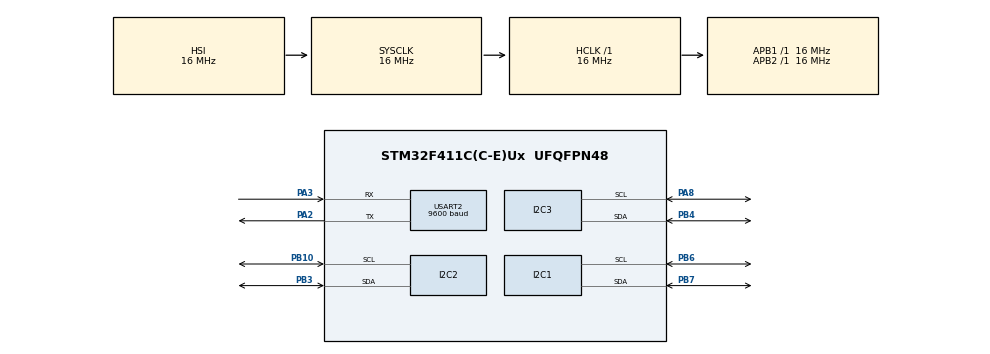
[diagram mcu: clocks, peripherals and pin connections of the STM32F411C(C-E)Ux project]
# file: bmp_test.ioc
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FREERTOS.Tasks01=SensorTask,40,2024,sensor_aq_task,Default,NULL,Static,SensorTaskBuffer,SensorTaskControlBlock;DisplayTask,24,5024,display_refresh,Default,NULL,Static,DisplayTaskBuffer,DisplayTaskControlBlock;FailureMonitor,8,2024,failure_detector,Default,NULL,Static,FailureMonitorBuffer,FailureMonitorControlBlock
FREERTOS.configENABLE_FPU=1
FREERTOS.configUSE_NEWLIB_REENTRANT=1
Mcu.Family=STM32F4
Mcu.Name=STM32F411C(C-E)Ux
Mcu.Package=UFQFPN48
NVIC.PriorityGroup=NVIC_PRIORITYGROUP_4
NVIC.TIM1_UP_TIM10_IRQn=true\:15\:0\:false\:false\:true\:false\:false\:true\:true
NVIC.TimeBase=TIM1_UP_TIM10_IRQn
NVIC.TimeBaseIP=TIM10
PA2.Mode=Asynchronous
PA2.Signal=USART2_TX
PA3.Mode=Asynchronous
PA3.Signal=USART2_RX
PA8.GPIO_Pu=GPIO_NOPULL
PA8.Mode=I2C
PA8.Signal=I2C3_SCL
PB10.GPIO_Pu=GPIO_NOPULL
PB10.Mode=I2C
PB10.Signal=I2C2_SCL
PB3.GPIO_Pu=GPIO_NOPULL
PB3.Mode=I2C
PB3.Signal=I2C2_SDA
PB4.GPIO_Pu=GPIO_NOPULL
PB4.Mode=I2C
PB4.Signal=I2C3_SDA
PB6.GPIO_Pu=GPIO_NOPULL
PB6.Mode=I2C
PB6.Signal=I2C1_SCL
PB7.GPIO_Pu=GPIO_NOPULL
PB7.Mode=I2C
PB7.Signal=I2C1_SDA
ProjectManager.HeapSize=0x200
ProjectManager.StackSize=0x400
ProjectManager.TargetToolchain=STM32CubeIDE
RCC.AHBFreq_Value=16000000
RCC.APB1Freq_Value=16000000
RCC.APB2Freq_Value=16000000
RCC.CortexFreq_Value=16000000
RCC.HSE_VALUE=25000000
RCC.HSI_VALUE=16000000
RCC.LSE_VALUE=32768
RCC.SYSCLKFreq_VALUE=16000000
RCC.VCOOutputFreq_Value=192000000
USART2.BaudRate=9600
USART2.VirtualMode=VM_ASYNC
VP_FREERTOS_VS_CMSIS_V2.Mode=CMSIS_V2
VP_SYS_VS_tim10.Mode=TIM10
board=custom

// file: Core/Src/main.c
/* USER CODE BEGIN Header */
/**
 ******************************************************************************
 * @file           : main.c
 * @brief          : Main program body
 ******************************************************************************
 * @attention
 *
 * Copyright (c) 2026 STMicroelectronics.
 * All rights reserved.
 *
 * This software is licensed under terms that can be found in the LICENSE file
 * in the root directory of this software component.
 * If no LICENSE file comes with this software, it is provided AS-IS.
 *
 ******************************************************************************
 */
/* USER CODE END Header */
#include "main.h"
#include "cmsis_os.h"

/* USER CODE BEGIN Includes */
#include "bmp280_secondary.h"
#include "bmp280.h"
#include "mpu6050.h"
#include <stdio.h>
/* USER CODE END Includes */

typedef StaticTask_t osStaticThreadDef_t;

/* USER CODE BEGIN PD */
float altitude = 0.00f;
float gx = 0.00f;
float gy = 0.00f;
float gz = 0.00f;
float ax = 0.00f;
float ay = 0.00f;
float az = 0.00f;
float cc = 0.00f;
float cv = 0.00f;
float fused_vz = 0.00f;
float roll_deg = 0.00f;
float pitch_deg = 0.00f;
float prev_altitude = 0.00f;
float vz_avg = 0.00f;
int debug = 0;
float fused_vz_bias = 0.0f;

int sensor_task_running = 0;
int display_task_running = 0;
int failure_monitor_running = 0;
/* USER CODE END PD */

I2C_HandleTypeDef hi2c1;
I2C_HandleTypeDef hi2c2;
I2C_HandleTypeDef hi2c3;

UART_HandleTypeDef huart2;

/* Definitions for SensorTask */
osThreadId_t SensorTaskHandle;
uint32_t SensorTaskBuffer[ 2024 ];
osStaticThreadDef_t SensorTaskControlBlock;
const osThreadAttr_t SensorTask_attributes = {
  .name = "SensorTask",
  .cb_mem = &SensorTaskControlBlock,
  .cb_size = sizeof(SensorTaskControlBlock),
  .stack_mem = &SensorTaskBuffer[0],
  .stack_size = sizeof(SensorTaskBuffer),
  .priority = (osPriority_t) osPriorityHigh,
};
/* Definitions for DisplayTask */
osThreadId_t DisplayTaskHandle;
uint32_t DisplayTaskBuffer[ 5024 ];
osStaticThreadDef_t DisplayTaskControlBlock;
const osThreadAttr_t DisplayTask_attributes = {
  .name = "DisplayTask",
  .cb_mem = &DisplayTaskControlBlock,
  .cb_size = sizeof(DisplayTaskControlBlock),
  .stack_mem = &DisplayTaskBuffer[0],
  .stack_size = sizeof(DisplayTaskBuffer),
  .priority = (osPriority_t) osPriorityNormal,
};
/* Definitions for FailureMonitor */
osThreadId_t FailureMonitorHandle;
uint32_t FailureMonitorBuffer[ 2024 ];
osStaticThreadDef_t FailureMonitorControlBlock;
const osThreadAttr_t FailureMonitor_attributes = {
  .name = "FailureMonitor",
  .cb_mem = &FailureMonitorControlBlock,
  .cb_size = sizeof(FailureMonitorControlBlock),
  .stack_mem = &FailureMonitorBuffer[0],
  .stack_size = sizeof(FailureMonitorBuffer),
  .priority = (osPriority_t) osPriorityLow,
};

void SystemClock_Config(void);
static void MX_GPIO_Init(void);
static void MX_I2C1_Init(void);
static void MX_I2C2_Init(void);
static void MX_I2C3_Init(void);
static void MX_USART2_UART_Init(void);
void sensor_aq_task(void *argument);
void display_refresh(void *argument);
void failure_detector(void *argument);

/* USER CODE BEGIN 0 */

#define PUTCHAR_PROTOTYPE int __io_putchar(int ch)

PUTCHAR_PROTOTYPE {
	/* Place your implementation of fputc here */
	/* e.g. write a character to the USART1 and Loop until the end of transmission */
	HAL_UART_Transmit(&huart2, (uint8_t*) &ch, 1, 0xFFFF);

	return ch;
}

float vertical_velocity_baro(float altitude, float dt) {
	static float prev_alt = 0.0f;
	static uint8_t initialized = 0;
	static float vz = 0.0f;

	if (!initialized) {
		prev_alt = altitude;
		initialized = 1;
		return 0.0f;
	}

	float raw_vz = (altitude - prev_alt) / dt;
	const float alpha = 0.85f;
	vz = alpha * vz + (1.0f - alpha) * raw_vz;

	prev_alt = altitude;

	return vz;
}

float vertical_velocity_imu(float ax, float ay, float az, float roll_deg,
		float pitch_deg, float dt) {
	static float vz = 0.0f;
	static float bias = 0.0f;
	static uint8_t initialized = 0;

	const float g = 9.80665f;

	float roll = roll_deg * 0.0174533f;
	float pitch = pitch_deg * 0.0174533f;

	float accZ_inertial = -sinf(pitch) * ax + cosf(pitch) * sinf(roll) * ay
			+ cosf(pitch) * cosf(roll) * az;

	float az_true = (accZ_inertial - 1.0f) * g;

	if (!initialized) {
		bias = az_true;
		initialized = 1;
		return 0.0f;
	}

	bias = 0.995f * bias + 0.005f * az_true;
	az_true -= bias;
	vz += az_true * dt;
	vz *= 0.999f;

	return vz;
}

float average_altitude(int steps) {
	float sum = 0.0f;

	for (int i = 0; i < steps; i++) {
		sum += altitude_calc();
		HAL_Delay(10);
	}

	return sum / steps;
}

float vertical_velocity_fused(float ax, float ay, float az, float roll_deg,
		float pitch_deg, float dt) {
	static float vz = 0.0f;
	static float prev_alt = 0.0f;
	static float vz_baro = 0.0f;

	const float g = 9.80665f;

	float roll = roll_deg * 0.0174533f;
	float pitch = pitch_deg * 0.0174533f;

	float accZ_inertial = -sinf(pitch) * ax + cosf(pitch) * sinf(roll) * ay
			+ cosf(pitch) * cosf(roll) * az;

	float az_true = (accZ_inertial - 1.0f) * g;
	float altitude = altitude_calc();
	float raw_vz_baro = (altitude - prev_alt) / dt;

	const float alpha_baro = 0.85f;
	vz_baro = alpha_baro * vz_baro + (1.0f - alpha_baro) * raw_vz_baro;
	prev_alt = altitude;

	const float k_baro = 0.05f;

	vz += az_true * dt;
	vz += (vz_baro - vz) * k_baro;

	return vz;
}

float display_refresh_averaged(float input, int count) {
	for (int i = 0; i <= count; i++) {
		input += input;
	}

	input = input / count;

	return input;
}

/* USER CODE END 0 */

int main(void)
{

  /* MCU Configuration--------------------------------------------------------*/

  /* Reset of all peripherals, Initializes the Flash interface and the Systick. */
  HAL_Init();

  /* Configure the system clock */
  SystemClock_Config();

  /* Initialize all configured peripherals */
  MX_GPIO_Init();
  MX_I2C1_Init();
  MX_I2C2_Init();
  MX_I2C3_Init();
  MX_USART2_UART_Init();
  /* USER CODE BEGIN 2 */

	bmp_i2c_setup();
	mpu_init();

	HAL_Delay(100);

	// --- CALIBRATION ---
	// --- FUSED VELOCITY CALIBRATION ---
	float sum = 0.0f;

	debug = 1;

	for (int i = 0; i < 100; i++) {
		gx = mpu_gyro_read(0);
		gy = mpu_gyro_read(1);
		gz = mpu_gyro_read(2);

		ax = mpu_accel_read(0);
		ay = mpu_accel_read(1);
		az = mpu_accel_read(2);

		mpu_get_kalman_angles(&roll_deg, &pitch_deg);

		altitude = altitude_calc_secondary();

		float temp = vertical_velocity_fused(ax, ay, az, roll_deg, pitch_deg,
				0.02f);

		sum += temp;

		HAL_Delay(2);
	}

	fused_vz_bias = sum / 100.0f;

	debug = 100;

  /* USER CODE END 2 */

  /* Init scheduler */
  osKernelInitialize();

  /* Create the thread(s) */
  /* creation of SensorTask */
  SensorTaskHandle = osThreadNew(sensor_aq_task, NULL, &SensorTask_attributes);

  /* creation of DisplayTask */
  DisplayTaskHandle = osThreadNew(display_refresh, NULL, &DisplayTask_attributes);

  /* creation of FailureMonitor */
  FailureMonitorHandle = osThreadNew(failure_detector, NULL, &FailureMonitor_attributes);

  /* Start scheduler */
  osKernelStart();

  /* We should never get here as control is now taken by the scheduler */

  /* Infinite loop */
  /* USER CODE BEGIN WHILE */
	while (1) {

		/*float vz_scaled = (fused_vz + 5.0f) * 25.5f;

		 if (vz_scaled < 0) vz_scaled = 0;
		 if (vz_scaled > 255) vz_scaled = 255;

		 uint8_t vz_byte = (uint8_t)vz_scaled;

		 printf("add %d,%d,%d", 0, 0, vz_byte);
		 printf("%c%c%c", 0xFF, 0xFF, 0xFF);

		 */

		HAL_Delay(100);
    /* USER CODE END WHILE */

	}
}

void SystemClock_Config(void)
{
  RCC_OscInitTypeDef RCC_OscInitStruct = {0};
  RCC_ClkInitTypeDef RCC_ClkInitStruct = {0};

  /** Configure the main internal regulator output voltage
  */
  __HAL_RCC_PWR_CLK_ENABLE();
  __HAL_PWR_VOLTAGESCALING_CONFIG(PWR_REGULATOR_VOLTAGE_SCALE1);

  /** Initializes the RCC Oscillators according to the specified parameters
  * in the RCC_OscInitTypeDef structure.
  */
  RCC_OscInitStruct.OscillatorType = RCC_OSCILLATORTYPE_HSI;
  RCC_OscInitStruct.HSIState = RCC_HSI_ON;
  RCC_OscInitStruct.HSICalibrationValue = RCC_HSICALIBRATION_DEFAULT;
  RCC_OscInitStruct.PLL.PLLState = RCC_PLL_NONE;
  if (HAL_RCC_OscConfig(&RCC_OscInitStruct) != HAL_OK)
  {
    Error_Handler();
  }

  /** Initializes the CPU, AHB and APB buses clocks
  */
  RCC_ClkInitStruct.ClockType = RCC_CLOCKTYPE_HCLK|RCC_CLOCKTYPE_SYSCLK
                              |RCC_CLOCKTYPE_PCLK1|RCC_CLOCKTYPE_PCLK2;
  RCC_ClkInitStruct.SYSCLKSource = RCC_SYSCLKSOURCE_HSI;
  RCC_ClkInitStruct.AHBCLKDivider = RCC_SYSCLK_DIV1;
  RCC_ClkInitStruct.APB1CLKDivider = RCC_HCLK_DIV1;
  RCC_ClkInitStruct.APB2CLKDivider = RCC_HCLK_DIV1;

  if (HAL_RCC_ClockConfig(&RCC_ClkInitStruct, FLASH_LATENCY_0) != HAL_OK)
  {
    Error_Handler();
  }
}

static void MX_I2C1_Init(void)
{

  hi2c1.Instance = I2C1;
  hi2c1.Init.ClockSpeed = 100000;
  hi2c1.Init.DutyCycle = I2C_DUTYCYCLE_2;
  hi2c1.Init.OwnAddress1 = 0;
  hi2c1.Init.AddressingMode = I2C_ADDRESSINGMODE_7BIT;
  hi2c1.Init.DualAddressMode = I2C_DUALADDRESS_DISABLE;
  hi2c1.Init.OwnAddress2 = 0;
  hi2c1.Init.GeneralCallMode = I2C_GENERALCALL_DISABLE;
  hi2c1.Init.NoStretchMode = I2C_NOSTRETCH_DISABLE;
  if (HAL_I2C_Init(&hi2c1) != HAL_OK)
  {
    Error_Handler();
  }

}

static void MX_I2C2_Init(void)
{

  hi2c2.Instance = I2C2;
  hi2c2.Init.ClockSpeed = 100000;
  hi2c2.Init.DutyCycle = I2C_DUTYCYCLE_2;
  hi2c2.Init.OwnAddress1 = 0;
  hi2c2.Init.AddressingMode = I2C_ADDRESSINGMODE_7BIT;
  hi2c2.Init.DualAddressMode = I2C_DUALADDRESS_DISABLE;
  hi2c2.Init.OwnAddress2 = 0;
  hi2c2.Init.GeneralCallMode = I2C_GENERALCALL_DISABLE;
  hi2c2.Init.NoStretchMode = I2C_NOSTRETCH_DISABLE;
  if (HAL_I2C_Init(&hi2c2) != HAL_OK)
  {
    Error_Handler();
  }

}

static void MX_I2C3_Init(void)
{

  hi2c3.Instance = I2C3;
  hi2c3.Init.ClockSpeed = 100000;
  hi2c3.Init.DutyCycle = I2C_DUTYCYCLE_2;
  hi2c3.Init.OwnAddress1 = 0;
  hi2c3.Init.AddressingMode = I2C_ADDRESSINGMODE_7BIT;
  hi2c3.Init.DualAddressMode = I2C_DUALADDRESS_DISABLE;
  hi2c3.Init.OwnAddress2 = 0;
  hi2c3.Init.GeneralCallMode = I2C_GENERALCALL_DISABLE;
  hi2c3.Init.NoStretchMode = I2C_NOSTRETCH_DISABLE;
  if (HAL_I2C_Init(&hi2c3) != HAL_OK)
  {
    Error_Handler();
  }

}

static void MX_USART2_UART_Init(void)
{

  huart2.Instance = USART2;
  huart2.Init.BaudRate = 9600;
  huart2.Init.WordLength = UART_WORDLENGTH_8B;
  huart2.Init.StopBits = UART_STOPBITS_1;
  huart2.Init.Parity = UART_PARITY_NONE;
  huart2.Init.Mode = UART_MODE_TX_RX;
  huart2.Init.HwFlowCtl = UART_HWCONTROL_NONE;
  huart2.Init.OverSampling = UART_OVERSAMPLING_16;
  if (HAL_UART_Init(&huart2) != HAL_OK)
  {
    Error_Handler();
  }

}

static void MX_GPIO_Init(void)
{

  /* GPIO Ports Clock Enable */
  __HAL_RCC_GPIOA_CLK_ENABLE();
  __HAL_RCC_GPIOB_CLK_ENABLE();

}

void sensor_aq_task(void *argument)
{
  /* USER CODE BEGIN 5 */
	/* Infinite loop */
	for (;;) {

		sensor_task_running = 1;
		gx = mpu_gyro_read(0);
		gy = mpu_gyro_read(1);
		gz = mpu_gyro_read(2);
		ax = mpu_accel_read(0);
		ay = mpu_accel_read(1);
		az = mpu_accel_read(2);

		mpu_get_kalman_angles(&roll_deg, &pitch_deg);
		altitude = altitude_calc();
		cv = vertical_velocity_baro(altitude, 0.01f);
		cc = vertical_velocity_imu(ax, ay, az, roll_deg, pitch_deg, 0.01f);
		fused_vz = vertical_velocity_fused(ax, ay, az, roll_deg, pitch_deg,
				0.01f);
		fused_vz -= fused_vz_bias;

		osDelay(1);
		sensor_task_running = 0;

	}
  /* USER CODE END 5 */
}

void display_refresh(void *argument)
{
  /* USER CODE BEGIN display_refresh */
	/* Infinite loop */
	for (;;) {
		display_task_running = 1;
		printf("t1.txt=\"%.2f m/s\"\xFF\xFF\xFFt2.txt=\"%.2f m\"\xFF\xFF\xFFt3.txt=\"%.2f deg\"\xFF\xFF\xFF", fused_vz, altitude, pitch_deg);
        osDelay(1);
        display_task_running = 0;
	}
  /* USER CODE END display_refresh */
}

void failure_detector(void *argument)
{
  /* USER CODE BEGIN failure_detector */
	/* Infinite loop */
	for (;;) {
		failure_monitor_running = 1;
		osDelay(1);
		failure_monitor_running = 0;
	}
  /* USER CODE END failure_detector */
}

void HAL_TIM_PeriodElapsedCallback(TIM_HandleTypeDef *htim)
{
  if (htim->Instance == TIM10)
  {
    HAL_IncTick();
  }
}

void Error_Handler(void)
{
	__disable_irq();
	while (1) {
	}
}
